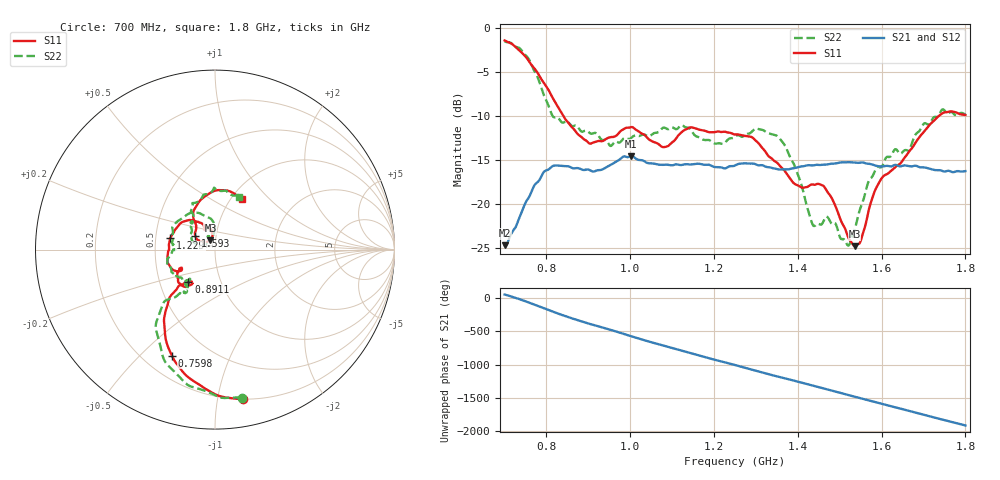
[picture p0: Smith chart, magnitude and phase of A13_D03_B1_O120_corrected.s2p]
! Created with skrf 1.9.0 (http://scikit-rf.org).
# Hz S RI R 50.0
!freq ReS11 ImS11 ReS21 ImS21 ReS12 ImS12 ReS22 ImS22
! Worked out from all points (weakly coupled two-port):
!   1601 points, 700 MHz to 1.8 GHz, reference 50 ohm
!   highest |S21| = -14.57 dB at 1.002 GHz (marker M1); lowest = -24.7 dB at 700 MHz (marker M2)
!   lowest |S11| = -24.8 dB at 1.535 GHz (marker M3), VSWR 1.12, Z = 47.3 + j4.93 ohm
!   |S11| at or under -10 dB: 840.1 MHz to 1.736 GHz (896.2 MHz wide, 69.6 % of centre)
!   |S22| runs from -24.7 to -1.5 dB; largest |S21 - S12| = 0.0035
!   S11 on the Smith chart (normalised r, x): 700 MHz: 0.20, -1.19; 759.8 MHz: 0.31, -0.63; 891.1 MHz: 0.70, -0.27; 1.229 GHz: 0.60, +0.08; 1.593 GHz: 0.80, +0.12; 1.8 GHz: 1.12, +0.71
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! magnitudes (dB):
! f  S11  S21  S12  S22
! 700 MHz  -1.4  -24.7  -24.4  -1.5
! 759.8 MHz  -3.9  -19.0  -18.9  -3.7
! 814.8 MHz  -7.9  -15.7  -15.7  -10.0
! 883.6 MHz  -12.4  -16.1  -15.9  -11.8
! 891.1 MHz  -12.7  -16.1  -16.1  -11.7
! 953 MHz  -12.4  -15.5  -15.5  -13.4
! 1.002 GHz  -11.3  -14.6  -14.7  -12.5
! 1.067 GHz  -13.2  -15.5  -15.4  -11.8
! 1.143 GHz  -11.3  -15.5  -15.5  -11.5
! 1.229 GHz  -11.8  -15.9  -15.8  -12.9
! 1.25 GHz  -12.1  -15.6  -15.5  -12.3
! 1.356 GHz  -15.6  -16.1  -16.0  -12.5
! 1.394 GHz  -17.8  -15.9  -15.9  -15.9
! 1.434 GHz  -17.8  -15.6  -15.6  -22.1
! 1.466 GHz  -18.2  -15.5  -15.5  -21.5
! 1.52 GHz  -23.7  -15.2  -15.2  -24.7
! 1.535 GHz  -24.8  -15.3  -15.3  -22.9
! 1.568 GHz  -21.0  -15.4  -15.4  -17.6
! 1.593 GHz  -17.6  -15.7  -15.7  -15.8
! 1.617 GHz  -16.4  -15.7  -15.7  -14.6
! 1.74 GHz  -9.9  -16.2  -16.2  -9.6
! 1.8 GHz  -9.9  -16.2  -16.2  -9.9
